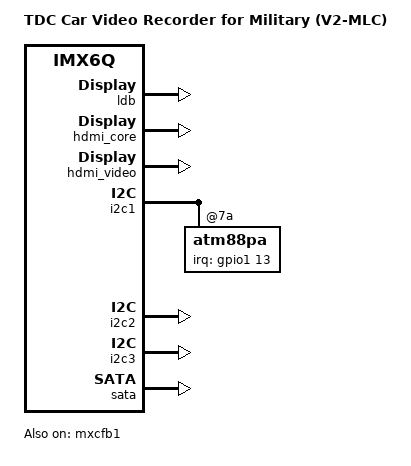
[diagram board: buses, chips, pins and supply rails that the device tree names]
/*
 * Technology Development Co.,Ltd
 * http://www.nedi.com.cn
 * Varphone Wong <varphone@qq.com>
 */

/dts-v1/;
#include "imx6q.dtsi"
#include "myimx6ek200-cm.dtsi"

/ {
	model = "TDC Car Video Recorder for Military (V2-MLC)";
	compatible = "tdc,cvr-mil-v2", "myzr,myimx6", "myzr,myimx6q", "myzr,myimx6cb200", "myzr,myimx6ek200", "fsl,imx6q", "fsl,imx6q-ldb";

	reserved-memory {
		#address-cells = <1>;
		#size-cells = <1>;
		ranges;

		/* global autoconfigured region for contiguous allocations */
		linux,cma {
			compatible = "shared-dma-pool";
			reusable;
			size = <0x1E000000>;
			linux,cma-default;
		};
	};
};

&ldb {
	status = "okay";
};

&can1 {
	status = "disabled";
};

&can2 {
	status = "disabled";
};

&fec {
	status = "disabled";
};

&hdmi_audio {
	status = "dsiabled";
};

&hdmi_cec {
	status = "disabled";
};

&hdmi_core {
	status = "okay";
};

&hdmi_video {
	status = "okay";
};

&i2c1 {
	atm88pa@7a {
		pinctrl-names = "default";
		pinctrl-0 = <&pinctrl_csi_keys>;
		interrupt-parent = <&gpio1>;
		interrupts = <13 0>;

		power {
			/* poweroff GPIO5_IO20, ACTIVE_LOW */
			gpios = <&gpio5 20 1>;
		};
	};
};

&i2c2 {
	status = "okay";
};

&i2c3 {
	status = "okay";
};

&mxcfb1 {
	compatible = "fsl,mxc_sdc_fb";
	disp_dev = "hdmi";
	interface_pix_fmt = "RGB24";
	mode_str = "1920x1080M@59";
	default_bpp = <32>;
	int_clk = <0>;
	late_init = <0>;
	status = "okay";
};

&mxcfb2 {
	status = "disabled";
};

&mxcfb3 {
	status = "disabled";
};

&mxcfb4 {
	status = "disabled";
};

&pcie {
	status = "disabled";
};

&pwm1 {
	status = "disabled";
};

&sata {
	status = "okay";
};

&snvs {
	status = "disabled";
};
